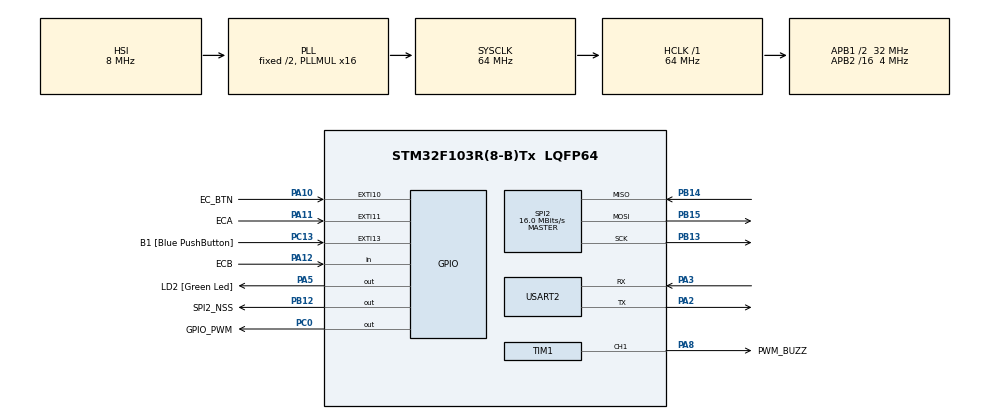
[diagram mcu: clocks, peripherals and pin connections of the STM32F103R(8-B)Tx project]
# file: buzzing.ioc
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Mcu.Family=STM32F1
Mcu.Name=STM32F103R(8-B)Tx
Mcu.Package=LQFP64
NVIC.EXTI15_10_IRQn=true\:0\:0\:false\:false\:true\:true\:true
NVIC.PriorityGroup=NVIC_PRIORITYGROUP_4
NVIC.SPI2_IRQn=true\:0\:0\:false\:false\:true\:true\:true
NVIC.TIM2_IRQn=true\:0\:0\:false\:false\:true\:true\:true
NVIC.TIM3_IRQn=true\:0\:0\:false\:false\:true\:true\:true
NVIC.USART2_IRQn=true\:0\:0\:false\:false\:true\:true\:true
PA10.GPIO_Label=EC_BTN
PA10.GPIO_ModeDefaultEXTI=GPIO_MODE_IT_FALLING
PA10.GPIO_PuPd=GPIO_PULLDOWN
PA10.Signal=GPXTI10
PA11.GPIO_Label=ECA
PA11.GPIO_ModeDefaultEXTI=GPIO_MODE_IT_RISING_FALLING
PA11.Signal=GPXTI11
PA12.GPIO_Label=ECB
PA12.Signal=GPIO_Input
PA13.GPIO_Label=TMS
PA13.Mode=Serial_Wire
PA13.Signal=SYS_JTMS-SWDIO
PA14.GPIO_Label=TCK
PA14.Mode=Serial_Wire
PA14.Signal=SYS_JTCK-SWCLK
PA2.Mode=Asynchronous
PA2.Signal=USART2_TX
PA3.Mode=Asynchronous
PA3.Signal=USART2_RX
PA5.GPIO_Label=LD2 [Green Led]
PA5.GPIO_ModeDefaultOutputPP=GPIO_MODE_OUTPUT_PP
PA5.GPIO_PuPd=GPIO_NOPULL
PA5.GPIO_Speed=GPIO_SPEED_FREQ_LOW
PA5.Signal=GPIO_Output
PA8.GPIO_Label=PWM_BUZZ
PA8.Signal=S_TIM1_CH1
PB12.GPIO_Label=SPI2_NSS
PB12.PinState=GPIO_PIN_SET
PB12.Signal=GPIO_Output
PB13.Mode=Full_Duplex_Master
PB13.Signal=SPI2_SCK
PB14.Mode=Full_Duplex_Master
PB14.Signal=SPI2_MISO
PB15.Mode=Full_Duplex_Master
PB15.Signal=SPI2_MOSI
PB3.GPIO_Label=SWO
PB3.Signal=SYS_JTDO-TRACESWO
PC0.GPIO_Label=GPIO_PWM
PC0.PinState=GPIO_PIN_RESET
PC0.Signal=GPIO_Output
PC13-TAMPER-RTC.GPIO_Label=B1 [Blue PushButton]
PC13-TAMPER-RTC.GPIO_ModeDefaultEXTI=GPIO_MODE_IT_FALLING
PC13-TAMPER-RTC.GPIO_PuPd=GPIO_NOPULL
PC13-TAMPER-RTC.Signal=GPXTI13
PC14-OSC32_IN.Signal=RCC_OSC32_IN
PC15-OSC32_OUT.Signal=RCC_OSC32_OUT
PD0-OSC_IN.Signal=RCC_OSC_IN
PD1-OSC_OUT.Signal=RCC_OSC_OUT
ProjectManager.HeapSize=0x200
ProjectManager.StackSize=0x400
ProjectManager.TargetToolchain=MDK-ARM V5
RCC.AHBFreq_Value=64000000
RCC.APB1CLKDivider=RCC_HCLK_DIV2
RCC.APB1Freq_Value=32000000
RCC.APB1TimFreq_Value=64000000
RCC.APB2CLKDivider=RCC_HCLK_DIV16
RCC.APB2Freq_Value=4000000
RCC.APB2TimFreq_Value=8000000
RCC.HCLKFreq_Value=64000000
RCC.PLLMUL=RCC_PLL_MUL16
RCC.SYSCLKFreq_VALUE=64000000
RCC.SYSCLKSource=RCC_SYSCLKSOURCE_PLLCLK
RCC.USBFreq_Value=64000000
SH.S_TIM1_CH1.0=TIM1_CH1,PWM Generation1 CH1
SPI2.CalculateBaudRate=16.0 MBits/s
SPI2.Direction=SPI_DIRECTION_2LINES
SPI2.Mode=SPI_MODE_MASTER
SPI2.VirtualType=VM_MASTER
TIM1.AutoReloadPreload=TIM_AUTORELOAD_PRELOAD_ENABLE
TIM1.Channel-PWM\ Generation1\ CH1=TIM_CHANNEL_1
TIM1.Period=1000
TIM1.Prescaler=8
TIM1.Pulse-PWM\ Generation1\ CH1=500
TIM2.Channel-Output\ Compare1\ No\ Output=TIM_CHANNEL_1
TIM2.OCMode_1=TIM_OCMODE_TIMING
TIM2.Prescaler=8000
TIM3.Channel-Output\ Compare1\ No\ Output=TIM_CHANNEL_1
TIM3.Period=500
TIM3.Prescaler=8000
USART2.VirtualMode=VM_ASYNC
VP_TIM1_VS_ClockSourceINT.Mode=Internal
VP_TIM2_VS_ClockSourceINT.Mode=Internal
VP_TIM2_VS_no_output1.Mode=Output Compare1 No Output
VP_TIM3_VS_ClockSourceINT.Mode=Internal
VP_TIM3_VS_no_output1.Mode=Output Compare1 No Output
board=NUCLEO-F103RB

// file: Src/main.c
/* USER CODE BEGIN Header */
/**
  ******************************************************************************
  * @file           : main.c
  * @brief          : Main program body
  ******************************************************************************
  * @attention
  *
  * <h2><center>&copy; Copyright (c) 2019 STMicroelectronics.
  * All rights reserved.</center></h2>
  *
  * This software component is licensed by ST under BSD 3-Clause license,
  * the "License"; You may not use this file except in compliance with the
  * License. You may obtain a copy of the License at:
  *                        opensource.org/licenses/BSD-3-Clause
  *
  ******************************************************************************
  */
/* USER CODE END Header */

#include "main.h"
#include "spi.h"
#include "tim.h"
#include "usart.h"
#include "gpio.h"

/* USER CODE BEGIN Includes */
#include "enc.h"
#include "buzzer.h"
#include "pc_uart.h"
/* USER CODE END Includes */

void SystemClock_Config(void);
/* USER CODE BEGIN PFP */

void HAL_TIM_OC_DelayElapsedCallback(TIM_HandleTypeDef *htim);
void HAL_GPIO_EXTI_Callback(uint16_t GPIO_Pin);
/* USER CODE END PFP */

int main(void)
{
  /* USER CODE BEGIN 1 */
	static uint8_t state = STATE_RESET;
	uint32_t timestamp;
	char message[50];
	uint8_t encoder_value;
  /* USER CODE END 1 */

  /* MCU Configuration--------------------------------------------------------*/

  /* Reset of all peripherals, Initializes the Flash interface and the Systick. */
  HAL_Init();

  /* Configure the system clock */
  SystemClock_Config();

  /* Initialize all configured peripherals */
  MX_GPIO_Init();
  MX_TIM1_Init();
  MX_TIM2_Init();
  MX_TIM3_Init();
  MX_SPI2_Init();
  MX_USART2_UART_Init();

  /* Infinite loop */
  /* USER CODE BEGIN WHILE */

	while (1)
	{
/****** MAIN STATE MACHINE ***************/
		switch (state)
		{
/******** RESET **************************/
			case STATE_RESET:
				enc_leds_off();
				while( pc_uart_tx(
					"\r\n"
					"-----------\r\n"
					"Luka Gavric\r\n"
					"IRS2 \r\n"
					"-----------\r\n\r\n"
					"165 - start\r\n"
					"185 - set combination\r\n"
					"241 - end set comb\r\n\r\n") == RET_FAIL);
				pc_uart_rx(1);
				state = STATE_INIT;
				break;

/******** INITIALIZING *******************/
			case STATE_INIT:
				if ( pc_uart_check_rx() == FALSE )
					break;
				else
				{
					switch ( pc_uart_rx_cmd() )
					{
						case PC_CMD_START:
							enc_init();
							state = STATE_FIRST_LOCK;
							pc_uart_tx("Lock 1: ");
							break;

						case PC_CMD_LCKSET:
							pc_uart_rx(4);
							while ( pc_uart_tx("Setting lock combination.\r\n") == RET_FAIL );
							state = STATE_SET_COMB;
							break;

						default:
							pc_uart_rx(1);
							state = STATE_INIT;
							break;
					}
				}

				break;

/******* SETTING LOCK COMBINATION ********/
			case STATE_SET_COMB:
				if (pc_init_lock())
				{

					if ( pc_init_lock_status())
						while ( pc_uart_tx("Successful lock combination set!\r\n") == RET_FAIL );
					else
						while ( pc_uart_tx("Unsuccessful lock combination set!\r\n"
																"Number must be <16.\r\n"
																"Previous (default) combination saved.\r\n\r\n") == RET_FAIL );

					state = STATE_INIT;
					pc_uart_rx(1);
				}
				break;

/******* UNLOCKING LOCK BY LOCK **********/
			case STATE_FIRST_LOCK:
			case STATE_SECOND_LOCK:
			case STATE_THIRD_LOCK:

				if (enc_event_check()) // check for button push or encoder rotation
				{
					enc_process_event(state-STATE_FIRST_LOCK);	// process event that happened

					enc_get_value(&encoder_value);

					sprintf(message, "\rLock %d: %2d", state-STATE_FIRST_LOCK+1, encoder_value);
					while( pc_uart_tx(message) == RET_FAIL );

					if (enc_is_unlocked())	// if successfully unlocked, move on
					{
						state++;
						while ( pc_uart_tx(" successfully unlocked\r\n") == RET_FAIL );
						if (state != STATE_UNLOCK_1)
						{
							sprintf(message, "\rLock %d: %2d", state-STATE_FIRST_LOCK+1, encoder_value);
							while( pc_uart_tx(message) == RET_FAIL );
						}
					}

					else if (enc_is_blocked())	// if limit of number of failed attemts reached
					{
						state = STATE_BLOCK_1;
					}
				}

				break;

/******** UNLOCKED PREPARATIONS **********/
			case STATE_UNLOCK_1:
				HAL_NVIC_DisableIRQ(EXTI15_10_IRQn);
				while ( pc_uart_tx("\r\nUNLOCKED!\r\n") == RET_FAIL );
				timestamp = HAL_GetTick();
				state = STATE_UNLOCK_2;

/******** UNLOCKED ***********************/
			case STATE_UNLOCK_2:
				enc_flash_success();
				if (HAL_GetTick() - timestamp > UNLOCK_PERIOD)
				{
					state = STATE_RESET;
					HAL_NVIC_EnableIRQ(EXTI15_10_IRQn);
				}

				break;

/******* BLOCKED PREPARATIONS ************/
			case STATE_BLOCK_1:
				HAL_NVIC_DisableIRQ(EXTI15_10_IRQn);
				while ( pc_uart_tx("\r\nBLOCKED!\r\n") == RET_FAIL );
				timestamp = HAL_GetTick();
				state = STATE_BLOCK_2;

/******** BLOCKED ************************/
			case STATE_BLOCK_2:
				enc_flash_fail();
				if (HAL_GetTick() - timestamp > BLOCK_PERIOD)
				{
					state = STATE_RESET;
					HAL_NVIC_EnableIRQ(EXTI15_10_IRQn);
				}

				break;
		}

    /* USER CODE END WHILE */

  }
}

void SystemClock_Config(void)
{
  RCC_OscInitTypeDef RCC_OscInitStruct = {0};
  RCC_ClkInitTypeDef RCC_ClkInitStruct = {0};

  /** Initializes the CPU, AHB and APB busses clocks
  */
  RCC_OscInitStruct.OscillatorType = RCC_OSCILLATORTYPE_HSI;
  RCC_OscInitStruct.HSIState = RCC_HSI_ON;
  RCC_OscInitStruct.HSICalibrationValue = RCC_HSICALIBRATION_DEFAULT;
  RCC_OscInitStruct.PLL.PLLState = RCC_PLL_ON;
  RCC_OscInitStruct.PLL.PLLSource = RCC_PLLSOURCE_HSI_DIV2;
  RCC_OscInitStruct.PLL.PLLMUL = RCC_PLL_MUL16;
  if (HAL_RCC_OscConfig(&RCC_OscInitStruct) != HAL_OK)
  {
    Error_Handler();
  }
  /** Initializes the CPU, AHB and APB busses clocks
  */
  RCC_ClkInitStruct.ClockType = RCC_CLOCKTYPE_HCLK|RCC_CLOCKTYPE_SYSCLK
                              |RCC_CLOCKTYPE_PCLK1|RCC_CLOCKTYPE_PCLK2;
  RCC_ClkInitStruct.SYSCLKSource = RCC_SYSCLKSOURCE_PLLCLK;
  RCC_ClkInitStruct.AHBCLKDivider = RCC_SYSCLK_DIV1;
  RCC_ClkInitStruct.APB1CLKDivider = RCC_HCLK_DIV2;
  RCC_ClkInitStruct.APB2CLKDivider = RCC_HCLK_DIV16;

  if (HAL_RCC_ClockConfig(&RCC_ClkInitStruct, FLASH_LATENCY_2) != HAL_OK)
  {
    Error_Handler();
  }
}

void Error_Handler(void)
{
  /* USER CODE BEGIN Error_Handler_Debug */
  /* User can add his own implementation to report the HAL error return state */

	while(1)
	{
		pc_uart_error();			// reset needed
		HAL_Delay(1000);
	}

  /* USER CODE END Error_Handler_Debug */
}

/************************ (C) COPYRIGHT STMicroelectronics *****END OF FILE****/
